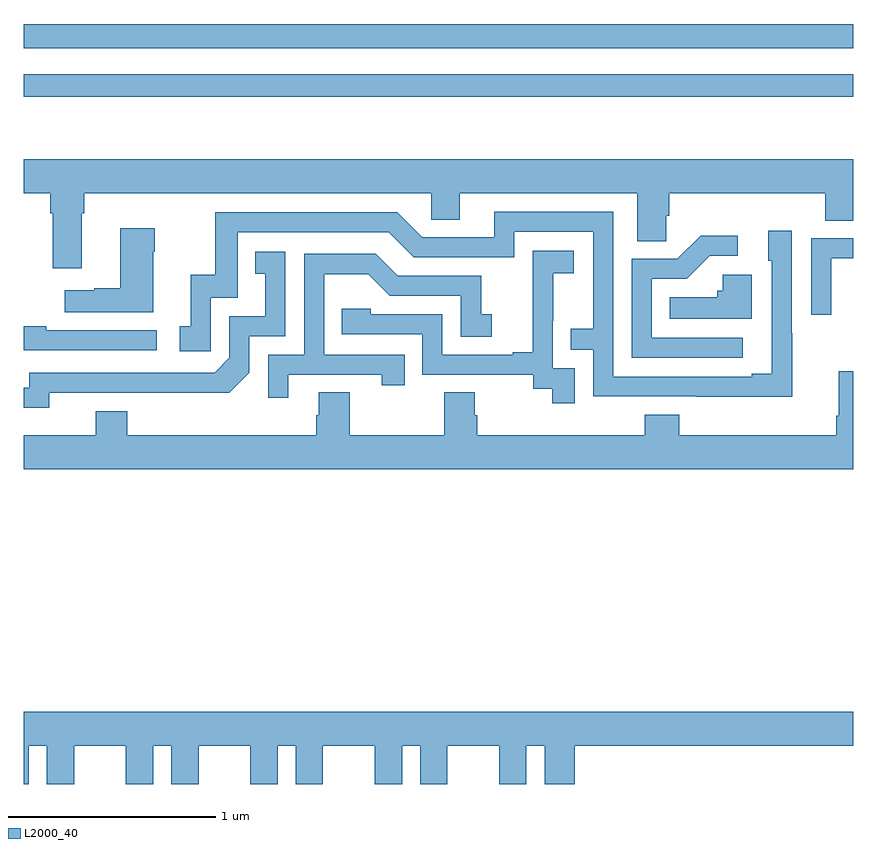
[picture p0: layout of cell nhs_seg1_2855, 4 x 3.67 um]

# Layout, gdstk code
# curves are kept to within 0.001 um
import gdstk
lib = gdstk.Library(unit=1e-6, precision=1e-09)
def R(c, l, rs):  # rectangles x0, y0, x1, y1
    for r in rs: c.add(gdstk.rectangle(r[:2], r[2:], *l))
def P(c, l, *ps):  # polygons
    for p in ps: c.add(gdstk.Polygon(p, *l))
L2000_40 = (2000, 40)

nhs_seg1_2855 = lib.new_cell('nhs_seg1_2855')
R(nhs_seg1_2855, L2000_40, [(265,569.514,269,569.622), (265,569.748,269,569.864)])
P(nhs_seg1_2855, L2000_40, [(265.279,568.952),(265.292,568.952),(265.292,569.048),(266.964,569.048),(266.964,568.921),(267.103,568.921),(267.103,569.048),(267.959,569.048),(267.959,568.816),(268.098,568.816),(268.098,568.939),(268.112,568.939),(268.112,569.048),(268.865,569.048),(268.865,568.915),(269,568.915),(269,569.212),(265,569.212),(265,569.048),(265.127,569.048),(265.127,568.952),(265.139,568.952),(265.139,568.686),(265.279,568.686)],
  [(268.707,568.373),(268.704,568.373),(268.704,568.867),(268.589,568.867),(268.589,568.722),(268.608,568.722),(268.608,568.177),(268.511,568.177),(268.511,568.164),(267.843,568.164),(267.843,568.959),(267.269,568.959),(267.269,568.836),(266.922,568.836),(266.802,568.956),(265.923,568.956),(265.923,568.654),(265.805,568.654),(265.805,568.407),(265.752,568.407),(265.752,568.287),(265.902,568.287),(265.902,568.545),(266.031,568.545),(266.031,568.86),(266.76,568.86),(266.88,568.74),(267.366,568.74),(267.366,568.863),(267.747,568.863),(267.747,568.394),(267.637,568.394),(267.637,568.293),(267.747,568.293),(267.747,568.068),(268.707,568.067)],
  [(265.624,568.766),(265.632,568.766),(265.632,568.879),(265.466,568.879),(265.466,568.589),(265.34,568.589),(265.34,568.579),(265.197,568.579),(265.197,568.475),(265.624,568.475)],
  [(268.468,568.35),(268.029,568.35),(268.029,568.635),(268.198,568.635),(268.309,568.746),(268.444,568.746),(268.444,568.844),(268.265,568.844),(268.152,568.731),(267.933,568.731),(267.933,568.254),(268.468,568.254)],
  [(268.893,568.734),(269,568.734),(269,568.83),(268.797,568.83),(268.797,568.461),(268.893,568.461)],
  [(267.657,568.203),(267.552,568.203),(267.552,568.433),(267.554,568.433),(267.554,568.661),(267.652,568.661),(267.652,568.771),(267.454,568.771),(267.454,568.565),(267.455,568.565),(267.455,568.282),(267.359,568.282),(267.359,568.269),(267.018,568.269),(267.018,568.464),(266.673,568.464),(266.673,568.491),(266.533,568.491),(266.533,568.368),(266.922,568.368),(266.922,568.173),(267.456,568.173),(267.456,568.105),(267.549,568.105),(267.549,568.035),(267.657,568.035)],
  [(265.122,568.086),(265.99,568.085),(266.088,568.182),(266.088,568.359),(266.262,568.359),(266.262,568.765),(266.116,568.765),(266.116,568.659),(266.165,568.659),(266.165,568.455),(265.992,568.455),(265.992,568.254),(265.92,568.182),(265.026,568.182),(265.026,568.11),(265,568.11),(265,568.013),(265.122,568.013)],
  [(266.275,568.173),(266.726,568.173),(266.726,568.122),(266.837,568.122),(266.837,568.269),(266.448,568.269),(266.448,568.658),(266.662,568.658),(266.766,568.554),(267.108,568.554),(267.108,568.356),(267.256,568.356),(267.256,568.465),(267.207,568.465),(267.207,568.65),(266.803,568.65),(266.698,568.755),(266.352,568.755),(266.352,568.269),(266.178,568.269),(266.178,568.062),(266.275,568.062)],
  [(268.51,568.654),(268.371,568.654),(268.371,568.578),(268.345,568.578),(268.345,568.546),(268.114,568.546),(268.114,568.442),(268.51,568.442)],
  [(265.642,568.386),(265.109,568.386),(265.109,568.406),(265,568.406),(265,568.29),(265.642,568.29)],
  [(269,568.189),(268.931,568.189),(268.931,567.976),(268.919,567.976),(268.919,567.88),(268.16,567.88),(268.16,567.979),(267.995,567.979),(267.995,567.88),(267.188,567.88),(267.188,567.978),(267.175,567.978),(267.175,568.088),(267.028,568.088),(267.028,567.88),(266.571,567.88),(266.571,568.088),(266.423,568.088),(266.423,567.978),(266.411,567.978),(266.411,567.88),(265.499,567.88),(265.499,567.997),(265.346,567.997),(265.346,567.88),(265,567.88),(265,567.716),(269,567.716)],
  [(265.024,566.384),(265.112,566.384),(265.112,566.199),(265.243,566.199),(265.243,566.384),(265.493,566.384),(265.493,566.199),(265.624,566.199),(265.624,566.384),(265.712,566.384),(265.712,566.199),(265.843,566.199),(265.843,566.384),(266.093,566.384),(266.093,566.199),(266.224,566.199),(266.224,566.384),(266.312,566.384),(266.312,566.199),(266.443,566.199),(266.443,566.384),(266.693,566.384),(266.693,566.199),(266.824,566.199),(266.824,566.384),(266.912,566.384),(266.912,566.199),(267.043,566.199),(267.043,566.384),(267.293,566.384),(267.293,566.199),(267.424,566.199),(267.424,566.384),(267.512,566.384),(267.512,566.199),(267.656,566.199),(267.656,566.384),(269,566.384),(269,566.548),(265,566.548),(265,566.199),(265.024,566.199)])

lib.write_gds('nhs_seg1_2855.gds')
